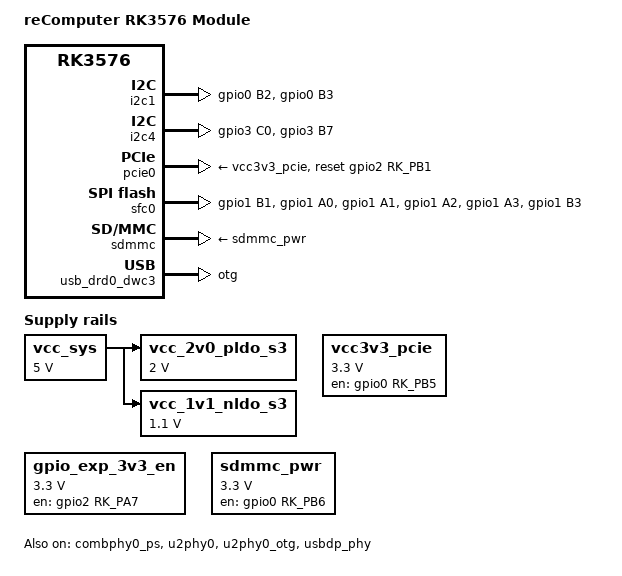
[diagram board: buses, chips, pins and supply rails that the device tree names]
// SPDX-License-Identifier: (GPL-2.0+ OR MIT)
/*
 * Copyright (c) 2024 Rockchip Electronics Co., Ltd.
 * Copyright (c) 2024 Radxa Computer (Shenzhen) Co., Ltd.
 */

/dts-v1/;
#include "rk3576.dtsi"
#include "rk3576-u-boot.dtsi"
#include <dt-bindings/input/input.h>
#include "rockchip/rk3576-rk806.dtsi"

/ {
	model = "reComputer RK3576 Module";
	compatible = "seeed,recomputer-rk3576-module", "rockchip,rk3576";

	/*
	 * adc-keys removed: SARADC channel 1 is susceptible to electrical
	 * interference when a USB device is connected to the OTG port, causing
	 * rockchip_dnl_key_pressed() to return true and U-Boot to enter
	 * download/recovery mode instead of normal boot.
	 * The reComputer board has no physical volume-up button; this node was
	 * inherited from the reference design and is not needed.
	 */

	/* Board regulators required by rk3576-rk806.dtsi */
	vcc_sys: vcc5v0-sys {
		u-boot,dm-spl;
		compatible = "regulator-fixed";
		regulator-name = "vcc_sys";
		regulator-always-on;
		regulator-boot-on;
		regulator-min-microvolt = <5000000>;
		regulator-max-microvolt = <5000000>;
	};

	vcc_2v0_pldo_s3: vcc-2v0-pldo-s3 {
		u-boot,dm-spl;
		compatible = "regulator-fixed";
		regulator-name = "vcc_2v0_pldo_s3";
		regulator-boot-on;
		regulator-always-on;
		regulator-min-microvolt = <2000000>;
		regulator-max-microvolt = <2000000>;
		vin-supply = <&vcc_sys>;
	};

	vcc_1v1_nldo_s3: vcc-1v1-nldo-s3 {
		u-boot,dm-spl;
		compatible = "regulator-fixed";
		regulator-name = "vcc_1v1_nldo_s3";
		regulator-boot-on;
		regulator-always-on;
		regulator-min-microvolt = <1100000>;
		regulator-max-microvolt = <1100000>;
		vin-supply = <&vcc_sys>;
	};

	vcc3v3_pcie: vcc3v3-pcie {
		u-boot,dm-pre-reloc;
		compatible = "regulator-fixed";
		regulator-name = "vcc3v3_pcie";
		regulator-min-microvolt = <3300000>;
		regulator-max-microvolt = <3300000>;
		enable-active-high;
		gpios = <&gpio0 RK_PB5 GPIO_ACTIVE_HIGH>;
		startup-delay-us = <5000>;
		pinctrl-names = "default";
		pinctrl-0 = <&pcie_pwr_en>;
	};

	gpio_exp_3v3_en: gpio_exp_3v3_en{
		u-boot,dm-pre-reloc;
		compatible = "regulator-fixed";
		regulator-name = "exp_3v3_en";
		regulator-min-microvolt = <3300000>;
		regulator-max-microvolt = <3300000>;
		regulator-always-on;
		regulator-boot-on;
		enable-active-high;
		gpios = <&gpio2 RK_PA7 GPIO_ACTIVE_HIGH>;
		pinctrl-names = "default";
		pinctrl-0 = <&vsys_3v3_exp_en>;
	};

	sdmmc_pwr: sdmmc-pwr {
		u-boot,dm-spl;
		compatible = "regulator-fixed";
		regulator-name = "sdmmc_pwr";
		regulator-min-microvolt = <3300000>;
		regulator-max-microvolt = <3300000>;
		enable-active-high;
		regulator-boot-on;
		gpios = <&gpio0 RK_PB6 GPIO_ACTIVE_HIGH>;
		pinctrl-names = "default";
		pinctrl-0 = <&sdmmc_pwr_en>;
	};
};

/* PMIC on I2C1 — enabled by rk3576-rk806.dtsi, add SPL tags */
&i2c1 {
	u-boot,dm-spl;
	pinctrl-names = "default";
	pinctrl-0 = <&i2c1m0_xfer>;
};

&i2c4{
	status = "okay";
	pinctrl-0 = <&eeprom_i2c_pin>;
	u-boot,dm-pre-reloc;
	u-boot,dm-spl;
};


&combphy0_ps {
	u-boot,dm-pre-reloc;
	status = "okay";
};

&pcie0 {
	u-boot,dm-pre-reloc;
	reset-gpios = <&gpio2 RK_PB1 GPIO_ACTIVE_HIGH>;
	rockchip,skip-scan-in-resume;
	vpcie3v3-supply = <&vcc3v3_pcie>;
	status = "okay";
};

&pcie0_intc {
	u-boot,dm-pre-reloc;
};

&sdhci {
	status = "disabled";
};

&sfc0 {
	u-boot,dm-pre-reloc;
	pinctrl-names = "default";
	pinctrl-0 = <&fspi0_pins &fspi0_csn0>;
};

&sdmmc {
	pinctrl-names = "default";
	pinctrl-0 = <&sdmmc0_clk &sdmmc0_cmd &sdmmc0_det &sdmmc0_bus4>;
	vmmc-supply = <&sdmmc_pwr>;
};

&u2phy0 {
	u-boot,dm-pre-reloc;
	status = "okay";
};

&u2phy0_otg {
	u-boot,dm-pre-reloc;
	status = "okay";
};

&usbdp_phy {
	u-boot,dm-pre-reloc;
	status = "okay";
};

&usb_drd0_dwc3 {
	u-boot,dm-pre-reloc;
	dr_mode = "otg";
	extcon = <&u2phy0>;
	status = "okay";
};


&pinctrl {
	u-boot,dm-pre-reloc;
	u-boot,dm-spl;
	status = "okay";
	eeprom_i2c {
		u-boot,dm-pre-reloc;
		u-boot,dm-spl;
		eeprom_i2c_pin: eeprom-i2c-pin {
			u-boot,dm-pre-reloc;
			u-boot,dm-spl;
			rockchip,pins =
				/* i2c4_scl_m3 */
				<3 RK_PC0 11 &pcfg_pull_none>,
				/* i2c4_sda_m3 */
				<3 RK_PB7 11 &pcfg_pull_none>;
		};
	};

	i2c1 {
		u-boot,dm-spl;
		i2c1m0_xfer: i2c1m0-xfer {
			u-boot,dm-spl;
			rockchip,pins =
				/* i2c1_scl_m0 */
				<0 RK_PB2 11 &pcfg_pull_none_smt>,
				/* i2c1_sda_m0 */
				<0 RK_PB3 11 &pcfg_pull_none_smt>;
		};
	};

	pcie {
		u-boot,dm-pre-reloc;
		pcie_pwr_en: pcie-pwr-en {
			u-boot,dm-pre-reloc;
			rockchip,pins = <0 RK_PB5 RK_FUNC_GPIO &pcfg_pull_none>;
		};
	};

	gpio_exp_en{
		vsys_3v3_exp_en: vsys-3v3-exp-en {
			rockchip,pins = <2 RK_PA7 RK_FUNC_GPIO &pcfg_pull_none>;
		};
	};

	sdmmc {
		u-boot,dm-spl;
		sdmmc_pwr_en: sdmmc-pwr-en {
			u-boot,dm-spl;
			rockchip,pins = <0 RK_PB6 RK_FUNC_GPIO &pcfg_pull_none>;
		};
	};

	fspi0 {
		u-boot,dm-spl;
		fspi0_pins: fspi0-pins {
			u-boot,dm-spl;
			rockchip,pins =
				/* fspi0_clk */
				<1 RK_PB1 2 &pcfg_pull_none>,
				/* fspi0_d0 */
				<1 RK_PA0 2 &pcfg_pull_none>,
				/* fspi0_d1 */
				<1 RK_PA1 2 &pcfg_pull_none>,
				/* fspi0_d2 */
				<1 RK_PA2 2 &pcfg_pull_none>,
				/* fspi0_d3 */
				<1 RK_PA3 2 &pcfg_pull_none>;
		};

		fspi0_csn0: fspi0-csn0 {
			u-boot,dm-spl;
			rockchip,pins =
				/* fspi0_csn0 */
				<1 RK_PB3 2 &pcfg_pull_none>;
		};
	};
};
